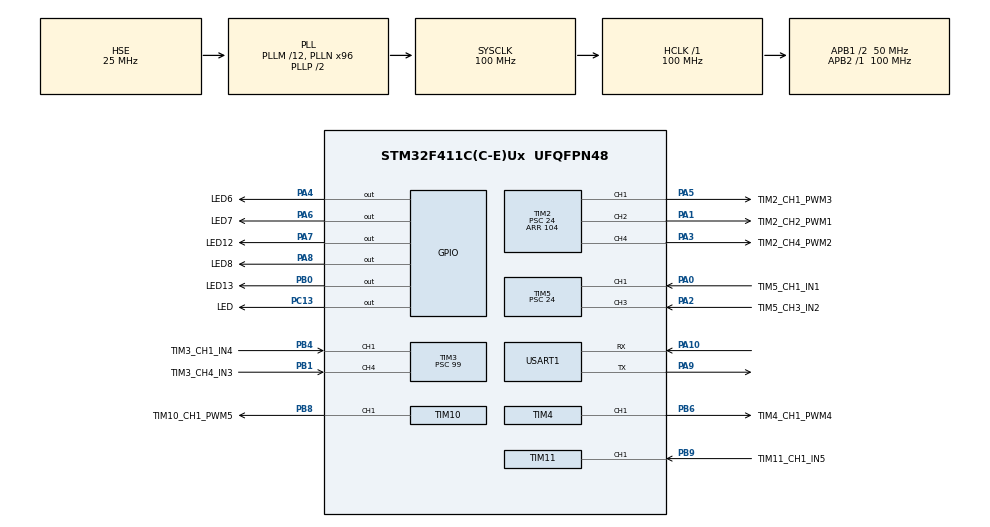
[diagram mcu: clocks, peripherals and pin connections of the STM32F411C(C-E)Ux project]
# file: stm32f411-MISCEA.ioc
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Mcu.Family=STM32F4
Mcu.Name=STM32F411C(C-E)Ux
Mcu.Package=UFQFPN48
NVIC.PriorityGroup=NVIC_PRIORITYGROUP_4
NVIC.TIM1_CC_IRQn=true\:0\:0\:false\:false\:true\:true\:true
NVIC.TIM3_IRQn=true\:0\:0\:false\:false\:true\:true\:true
PA0-WKUP.GPIO_Label=TIM5_CH1_IN1
PA0-WKUP.Signal=S_TIM5_CH1
PA1.GPIO_Label=TIM2_CH2_PWM1
PA1.Signal=S_TIM2_CH2
PA10.Mode=Asynchronous
PA10.Signal=USART1_RX
PA13.Mode=Serial_Wire
PA13.Signal=SYS_JTMS-SWDIO
PA14.Mode=Serial_Wire
PA14.Signal=SYS_JTCK-SWCLK
PA2.GPIO_Label=TIM5_CH3_IN2
PA2.Signal=S_TIM5_CH3
PA3.GPIO_Label=TIM2_CH4_PWM2
PA3.Signal=S_TIM2_CH4
PA4.GPIO_Label=LED6
PA4.GPIO_PuPd=GPIO_PULLUP
PA4.PinState=GPIO_PIN_SET
PA4.Signal=GPIO_Output
PA5.GPIO_Label=TIM2_CH1_PWM3
PA5.Signal=S_TIM2_CH1_ETR
PA6.GPIO_Label=LED7
PA6.GPIO_PuPd=GPIO_PULLUP
PA6.PinState=GPIO_PIN_SET
PA6.Signal=GPIO_Output
PA7.GPIO_Label=LED12
PA7.GPIO_PuPd=GPIO_PULLUP
PA7.PinState=GPIO_PIN_SET
PA7.Signal=GPIO_Output
PA8.GPIO_Label=LED8
PA8.GPIO_PuPd=GPIO_PULLUP
PA8.PinState=GPIO_PIN_SET
PA8.Signal=GPIO_Output
PA9.Mode=Asynchronous
PA9.Signal=USART1_TX
PB0.GPIO_Label=LED13
PB0.GPIO_PuPd=GPIO_PULLUP
PB0.PinState=GPIO_PIN_SET
PB0.Signal=GPIO_Output
PB1.GPIO_Label=TIM3_CH4_IN3
PB1.Signal=S_TIM3_CH4
PB4.GPIO_Label=TIM3_CH1_IN4
PB4.Signal=S_TIM3_CH1
PB6.GPIO_Label=TIM4_CH1_PWM4
PB6.Signal=S_TIM4_CH1
PB8.GPIO_Label=TIM10_CH1_PWM5
PB8.Signal=S_TIM10_CH1
PB9.GPIO_Label=TIM11_CH1_IN5
PB9.Signal=S_TIM11_CH1
PC13-ANTI_TAMP.GPIO_Label=LED
PC13-ANTI_TAMP.Signal=GPIO_Output
PH0\ -\ OSC_IN.Mode=HSE-External-Oscillator
PH0\ -\ OSC_IN.Signal=RCC_OSC_IN
PH1\ -\ OSC_OUT.Mode=HSE-External-Oscillator
PH1\ -\ OSC_OUT.Signal=RCC_OSC_OUT
ProjectManager.HeapSize=0x800
ProjectManager.StackSize=0x800
ProjectManager.TargetToolchain=MDK-ARM V5.27
RCC.48MHZClocksFreq_Value=50000000
RCC.AHBFreq_Value=100000000
RCC.APB1CLKDivider=RCC_HCLK_DIV2
RCC.APB1Freq_Value=50000000
RCC.APB1TimFreq_Value=100000000
RCC.APB2Freq_Value=100000000
RCC.APB2TimFreq_Value=100000000
RCC.CortexFreq_Value=100000000
RCC.HCLKFreq_Value=100000000
RCC.HSE_VALUE=25000000
RCC.HSI_VALUE=16000000
RCC.LSE_VALUE=32768
RCC.PLLM=12
RCC.PLLN=96
RCC.PLLSourceVirtual=RCC_PLLSOURCE_HSE
RCC.RCC_RTC_Clock_Source=RCC_RTCCLKSOURCE_LSI
RCC.RCC_RTC_Clock_SourceVirtual=RCC_RTCCLKSOURCE_LSI
RCC.SYSCLKFreq_VALUE=100000000
RCC.SYSCLKSource=RCC_SYSCLKSOURCE_PLLCLK
RCC.VCOOutputFreq_Value=200000000
SH.S_TIM10_CH1.0=TIM10_CH1,PWM Generation1 CH1
SH.S_TIM11_CH1.0=TIM11_CH1,Input_Capture1_from_TI1
SH.S_TIM2_CH1_ETR.0=TIM2_CH1,PWM Generation1 CH1
SH.S_TIM2_CH2.0=TIM2_CH2,PWM Generation2 CH2
SH.S_TIM2_CH4.0=TIM2_CH4,PWM Generation4 CH4
SH.S_TIM3_CH1.0=TIM3_CH1,Input_Capture1_from_TI1
SH.S_TIM3_CH4.0=TIM3_CH4,Input_Capture4_from_TI4
SH.S_TIM4_CH1.0=TIM4_CH1,PWM Generation1 CH1
SH.S_TIM5_CH1.0=TIM5_CH1,Input_Capture1_from_TI1
SH.S_TIM5_CH3.0=TIM5_CH3,Input_Capture3_from_TI3
TIM1.Channel-Output\ Compare4\ No\ Output=TIM_CHANNEL_4
TIM1.OCMode_4=TIM_OCMODE_TOGGLE
TIM1.Period=0xFFFF
TIM1.Prescaler=94
TIM1.Pulse-Output\ Compare4\ No\ Output=9000
TIM10.Channel=TIM_CHANNEL_1
TIM10.Period=99
TIM10.Prescaler=24
TIM11.Channel=TIM_CHANNEL_1
TIM2.AutoReloadPreload=TIM_AUTORELOAD_PRELOAD_ENABLE
TIM2.Channel-PWM\ Generation1\ CH1=TIM_CHANNEL_1
TIM2.Channel-PWM\ Generation2\ CH2=TIM_CHANNEL_2
TIM2.Channel-PWM\ Generation4\ CH4=TIM_CHANNEL_4
TIM2.Period=104
TIM2.Prescaler=24
TIM2.Pulse-PWM\ Generation1\ CH1=0
TIM2.Pulse-PWM\ Generation2\ CH2=0
TIM2.Pulse-PWM\ Generation4\ CH4=0
TIM3.Channel-Input_Capture1_from_TI1=TIM_CHANNEL_1
TIM3.Channel-Input_Capture4_from_TI4=TIM_CHANNEL_4
TIM3.ICPolarity_CH4=TIM_INPUTCHANNELPOLARITY_FALLING
TIM3.Period=0xFFFF
TIM3.Prescaler=99
TIM4.Channel-PWM\ Generation1\ CH1=TIM_CHANNEL_1
TIM4.Period=99
TIM4.Prescaler=24
TIM5.Channel-Input_Capture1_from_TI1=TIM_CHANNEL_1
TIM5.Channel-Input_Capture3_from_TI3=TIM_CHANNEL_3
TIM5.Period=99
TIM5.Prescaler=24
USART1.VirtualMode=VM_ASYNC
VP_TIM10_VS_ClockSourceINT.Mode=Enable_Timer
VP_TIM11_VS_ClockSourceINT.Mode=Enable_Timer
VP_TIM1_VS_ClockSourceINT.Mode=Internal
VP_TIM1_VS_no_output4.Mode=Output Compare4 No Output
VP_TIM3_VS_ClockSourceINT.Mode=Internal
VP_TIM5_VS_ClockSourceINT.Mode=Internal
board=custom

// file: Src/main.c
/* USER CODE BEGIN Header */
/**
  ******************************************************************************
  * @file           : main.c
  * @brief          : Main program body
  ******************************************************************************
  * @attention
  *
  * <h2><center>&copy; Copyright (c) 2020 STMicroelectronics.
  * All rights reserved.</center></h2>
  *
  * This software component is licensed by ST under Ultimate Liberty license
  * SLA0044, the "License"; You may not use this file except in compliance with
  * the License. You may obtain a copy of the License at:
  *                             www.st.com/SLA0044
  *
  ******************************************************************************
  */
/* USER CODE END Header */

#include "main.h"
#include "tim.h"
#include "usart.h"
#include "gpio.h"

void SystemClock_Config(void);
/* USER CODE BEGIN PFP */

#define SONY_HDR_MARK             2400
#define SONY_HDR_SPACE             600
#define SONY_ONE_MARK             1200
#define SONY_ZERO_MARK             600

int  MATCH_MARK (int measured_ticks,  int desired_us);
int  MATCH_SPACE (int measured_ticks,  int desired_us);

/* USER CODE END PFP */

int main(void)
{
  /* USER CODE BEGIN 1 */
	uint16_t i = 0;
	uint16_t raw_data_index_over_500[15] = {0};			//all is 12bit plus frame start 1 equal 13
	uint16_t raw_data_index_over_500_sum = 0;				//
	uint16_t raw_data[30] = {0};										//
	uint16_t raw_data_index_new = 0;
	uint16_t off_set = 0;
	uint16_t ir_data = 0;
  /* USER CODE END 1 */

  /* MCU Configuration--------------------------------------------------------*/

  /* Reset of all peripherals, Initializes the Flash interface and the Systick. */
  HAL_Init();

  /* Configure the system clock */
  SystemClock_Config();

  /* Initialize all configured peripherals */
  MX_GPIO_Init();
  MX_TIM3_Init();
  MX_TIM5_Init();
  MX_TIM10_Init();
  MX_TIM11_Init();
  MX_USART1_UART_Init();
  MX_TIM4_Init();
  MX_TIM2_Init();
  MX_TIM1_Init();
  /* USER CODE BEGIN 2 */
	HAL_UART_Transmit(&huart1,"hello",6,0xFF);

	HAL_Delay(300);
	if( SEND_IR_DATA ){
		//TIM2 pwm   CH1-PA5-PWM3 CH2-PA1-PWM1 CH4-PA3-PWM2
		HAL_TIM_PWM_Start(&htim2, TIM_CHANNEL_1);
		HAL_TIM_PWM_Start(&htim2, TIM_CHANNEL_2);
		HAL_TIM_PWM_Start(&htim2, TIM_CHANNEL_4);
		//TIM4 CH1-PB6-PWM4
		HAL_TIM_PWM_Start(&htim4, TIM_CHANNEL_1);
		//TIM10 CH1-PB8-PWM5
		//HAL_TIM_PWM_Start(&htim10, TIM_CHANNEL_1);

		//TIM2->CCR1 = 45;		//PA5 TIM2-CH1 pwm3

		//oc compare  output sony data
		HAL_TIM_OC_Start_IT(&htim1, TIM_CHANNEL_4);

		//input capture direct
		HAL_TIM_IC_Start_IT(&htim3, TIM_CHANNEL_4);
	}

  /* USER CODE END 2 */

  /* Infinite loop */
  while (1)
  {

    /* USER CODE BEGIN 3 */
		if( SEND_IR_DATA == 0 )
		{
			HAL_TIM_IC_Start_IT(&htim3, TIM_CHANNEL_4);
			HAL_TIM_OC_Start_IT(&htim1, TIM_CHANNEL_4);
		}
		HAL_GPIO_WritePin(LED_GPIO_Port,LED_Pin,0);
		HAL_GPIO_WritePin(LED6_GPIO_Port,LED6_Pin,0);
		HAL_GPIO_WritePin(LED7_GPIO_Port,LED7_Pin,0);
		HAL_GPIO_WritePin(LED8_GPIO_Port,LED8_Pin,0);
		HAL_GPIO_WritePin(LED12_GPIO_Port,LED12_Pin,0);
		HAL_GPIO_WritePin(LED13_GPIO_Port,LED13_Pin,0);
		HAL_Delay(50);
		HAL_GPIO_WritePin(LED_GPIO_Port,LED_Pin,1);
		HAL_GPIO_WritePin(LED6_GPIO_Port,LED6_Pin,1);
		HAL_GPIO_WritePin(LED7_GPIO_Port,LED7_Pin,1);
		HAL_GPIO_WritePin(LED8_GPIO_Port,LED8_Pin,1);
		HAL_GPIO_WritePin(LED12_GPIO_Port,LED12_Pin,1);
		HAL_GPIO_WritePin(LED13_GPIO_Port,LED13_Pin,1);
		HAL_Delay(300);
		if( rc_in_start )
		{
			HAL_TIM_IC_Stop_IT(&htim3, TIM_CHANNEL_4);
			rc_in_start = 0;
			if( rc_in[0] > 20000 )	//20000us=20ms
			{
				printf("rec data frame,count is %d\r\n", tim3_channel1_count);
//				for( i = 0; i < tim3_channel1_count; i++ )			//find pulse over 500 us
//				{
//					printf("rc_in[%d] is : %d\r\n",i,rc_in[i]);
//				}
//				printf("\r\n");
				raw_data_index_over_500_sum = 0;
				for( i = 0; i < tim3_channel1_count; i++ )			//find pulse over 500 us
				{
						if( rc_in[i] > 500 )		//
						{
							raw_data_index_over_500[raw_data_index_over_500_sum] = i;
							//printf("raw_data_index_over_500[%d] is %d\r\n",raw_data_index_over_500_sum,raw_data_index_over_500[raw_data_index_over_500_sum]);
							raw_data_index_over_500_sum++;
						}
				}
				if( raw_data_index_over_500_sum != 13)
				{
					printf("data is wrong!!!!!!!\r\n");
				}
				else
				{
					//decode into raw_data
					for( i = 0; i < 13; i++ )
					{
						raw_data[2*i] = (raw_data_index_over_500[i+1] - raw_data_index_over_500[i]) * 200;
						raw_data[2*i+1] = rc_in[raw_data_index_over_500[i+1]];
					}
					//decode into ir_data
					if(!MATCH_MARK(raw_data[off_set++],SONY_HDR_MARK))
					{
						printf("data error\r\n");
					}
					while( off_set+1 < 25){
						if(!MATCH_SPACE(raw_data[off_set++], SONY_HDR_SPACE))
							break;

						if			(MATCH_MARK(raw_data[off_set],SONY_ONE_MARK))
							ir_data = (ir_data << 1) | 1;
						else if	(MATCH_MARK(raw_data[off_set],SONY_ZERO_MARK))
							ir_data = (ir_data << 1) | 0;
						else
								break;
						off_set++;
					}
					ir_data = (ir_data << 1) | 0;
					printf("ir_data is 0x%x",ir_data);

				}
			}
		}
  }
  /* USER CODE END 3 */
}

void SystemClock_Config(void)
{
  RCC_OscInitTypeDef RCC_OscInitStruct = {0};
  RCC_ClkInitTypeDef RCC_ClkInitStruct = {0};
  RCC_PeriphCLKInitTypeDef PeriphClkInitStruct = {0};

  /** Configure the main internal regulator output voltage
  */
  __HAL_RCC_PWR_CLK_ENABLE();
  __HAL_PWR_VOLTAGESCALING_CONFIG(PWR_REGULATOR_VOLTAGE_SCALE1);
  /** Initializes the CPU, AHB and APB busses clocks
  */
  RCC_OscInitStruct.OscillatorType = RCC_OSCILLATORTYPE_HSE;
  RCC_OscInitStruct.HSEState = RCC_HSE_ON;
  RCC_OscInitStruct.PLL.PLLState = RCC_PLL_ON;
  RCC_OscInitStruct.PLL.PLLSource = RCC_PLLSOURCE_HSE;
  RCC_OscInitStruct.PLL.PLLM = 12;
  RCC_OscInitStruct.PLL.PLLN = 96;
  RCC_OscInitStruct.PLL.PLLP = RCC_PLLP_DIV2;
  RCC_OscInitStruct.PLL.PLLQ = 4;
  if (HAL_RCC_OscConfig(&RCC_OscInitStruct) != HAL_OK)
  {
    Error_Handler();
  }
  /** Initializes the CPU, AHB and APB busses clocks
  */
  RCC_ClkInitStruct.ClockType = RCC_CLOCKTYPE_HCLK|RCC_CLOCKTYPE_SYSCLK
                              |RCC_CLOCKTYPE_PCLK1|RCC_CLOCKTYPE_PCLK2;
  RCC_ClkInitStruct.SYSCLKSource = RCC_SYSCLKSOURCE_PLLCLK;
  RCC_ClkInitStruct.AHBCLKDivider = RCC_SYSCLK_DIV1;
  RCC_ClkInitStruct.APB1CLKDivider = RCC_HCLK_DIV2;
  RCC_ClkInitStruct.APB2CLKDivider = RCC_HCLK_DIV1;

  if (HAL_RCC_ClockConfig(&RCC_ClkInitStruct, FLASH_LATENCY_3) != HAL_OK)
  {
    Error_Handler();
  }
  PeriphClkInitStruct.PeriphClockSelection = RCC_PERIPHCLK_RTC;
  PeriphClkInitStruct.RTCClockSelection = RCC_RTCCLKSOURCE_LSI;
  if (HAL_RCCEx_PeriphCLKConfig(&PeriphClkInitStruct) != HAL_OK)
  {
    Error_Handler();
  }
}

/* USER CODE BEGIN 4 */

// Upper and Lower percentage tolerances in measurements
#define TOLERANCE       0.2

int  MATCH_MARK (int measured_ticks,  int desired_us)
{
	int passed = ((measured_ticks >=  (desired_us)*(1-TOLERANCE))
                && (measured_ticks <= (desired_us)*(1+TOLERANCE)));
 	return passed;
}

int  MATCH_SPACE (int measured_ticks,  int desired_us)
{
  int passed = ((measured_ticks >= (desired_us)*(1-TOLERANCE))
                && (measured_ticks <= (desired_us)*(1+TOLERANCE)));
 	return passed;
}

/* USER CODE END 4 */

void Error_Handler(void)
{
}

/************************ (C) COPYRIGHT STMicroelectronics *****END OF FILE****/
